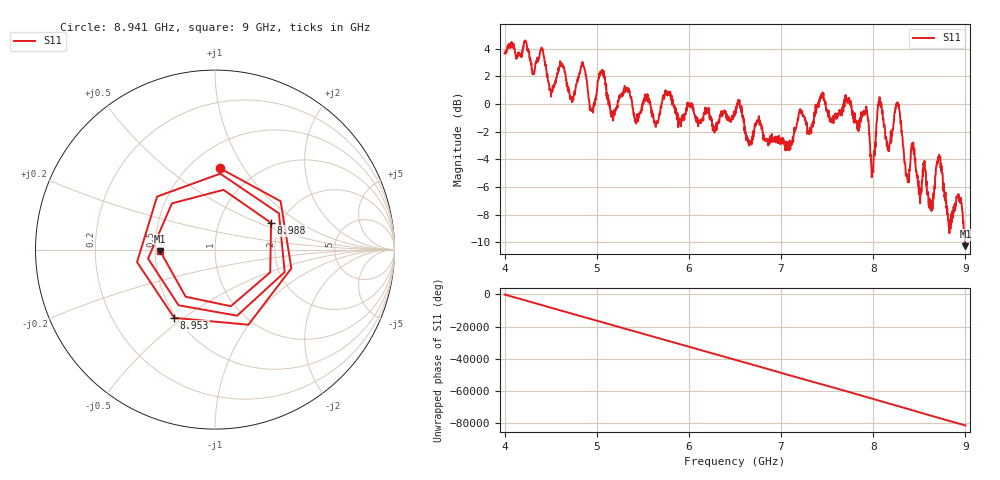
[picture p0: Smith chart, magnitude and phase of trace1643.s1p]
! Created with skrf 1.8.0 (http://scikit-rf.org).
# Hz S RI R 50.0
!freq ReS11 ImS11
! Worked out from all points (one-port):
!   1601 points, 4 GHz to 9 GHz, reference 50 ohm
!   lowest |S11| = -10.3 dB at 9 GHz (marker M1), VSWR 1.88, Z = 26.6 - j0.437 ohm
!   |S11| at or under -10 dB: 8.995835 GHz to end of sweep
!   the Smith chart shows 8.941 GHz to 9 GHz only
!   S11 on the Smith chart (normalised r, x): 8.941 GHz: 0.69, +0.79; 8.953 GHz: 0.49, -0.46; 8.988 GHz: 1.78, +0.60; 9 GHz: 0.53, -0.01
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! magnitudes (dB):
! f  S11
! 4 GHz  3.7
! 4.406 GHz  3.9
! 4.509 GHz  0.9
! 4.625 GHz  2.8
! 4.731 GHz  0.1
! 4.853 GHz  2.9
! 4.944 GHz  -0.5
! 5.053 GHz  2.4
! 5.166 GHz  -0.6
! 5.25 GHz  0.6
! 5.875 GHz  -0.7
! 6.5 GHz  -0.6
! 7.125 GHz  -2.5
! 7.75 GHz  -0.1
! 7.925 GHz  -0.2
! 7.994 GHz  -4.9
! 8.066 GHz  0.3
! 8.159 GHz  -3.3
! 8.266 GHz  0.1
! 8.375 GHz  -5.7
! 8.431 GHz  -3.2
! 8.625 GHz  -7.7
! 8.709 GHz  -3.9
! 8.825 GHz  -9.3
! 8.941 GHz  -6.8
! 8.953 GHz  -7.1
! 8.988 GHz  -9.2
! 9 GHz  -10.3
